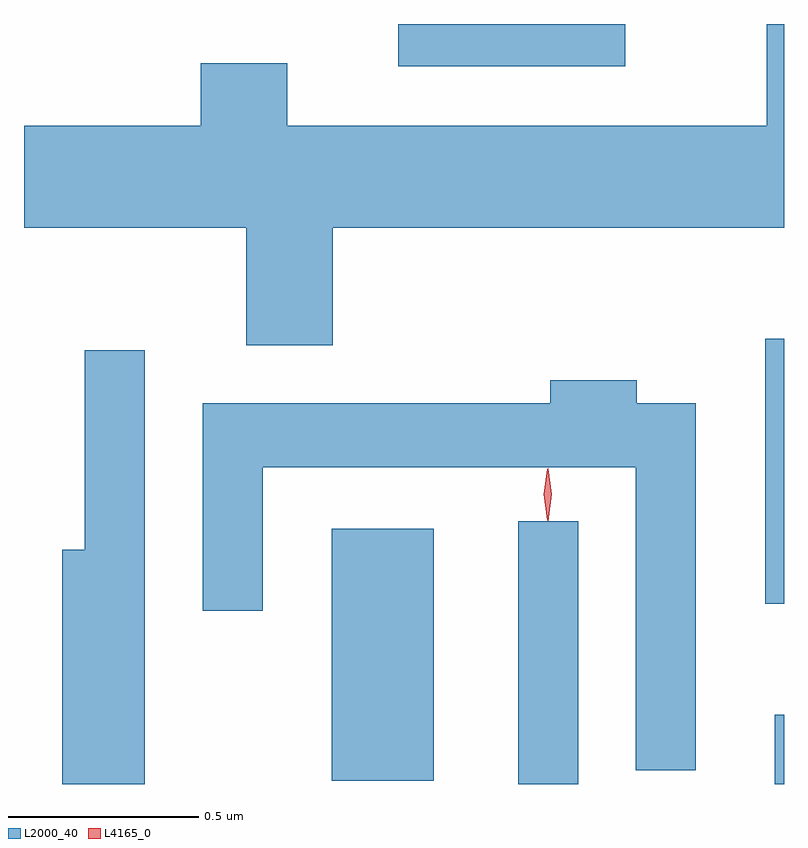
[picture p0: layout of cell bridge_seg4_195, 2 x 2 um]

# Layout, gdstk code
import gdstk
lib = gdstk.Library(unit=1e-6, precision=1e-09)
def R(c, l, rs):  # rectangles x0, y0, x1, y1
    for r in rs: c.add(gdstk.rectangle(r[:2], r[2:], *l))
def P(c, l, *ps):  # polygons
    for p in ps: c.add(gdstk.Polygon(p, *l))
L2000_40 = (2000, 40)
L4165_0 = (4165, 0)

bridge_seg4_195 = lib.new_cell('bridge_seg4_195')
R(bridge_seg4_195, L2000_40, [(969.816,1319.912,969.974,1320.603), (970.491,1319.912,970.516,1320.094), (969.326,1319.921,969.594,1320.584), (970.466,1320.386,970.516,1321.084), (969.501,1321.801,970.098,1321.912)])
P(bridge_seg4_195, L2000_40, [(969.329,1321.376),(970.516,1321.376),(970.516,1321.912),(970.471,1321.912),(970.471,1321.644),(969.209,1321.644),(969.209,1321.809),(968.981,1321.809),(968.981,1321.644),(968.516,1321.644),(968.516,1321.376),(969.101,1321.376),(969.101,1321.066),(969.329,1321.066)],
  [(968.834,1321.053),(968.676,1321.053),(968.676,1320.529),(968.616,1320.529),(968.616,1319.912),(968.834,1319.912)],
  [(970.284,1320.914),(970.129,1320.914),(970.129,1320.974),(969.901,1320.974),(969.901,1320.914),(968.986,1320.914),(968.986,1320.368),(969.144,1320.368),(969.144,1320.746),(970.126,1320.746),(970.126,1319.948),(970.284,1319.948)])
P(bridge_seg4_195, L4165_0, [(969.894,1320.604),(969.885,1320.674),(969.894,1320.742),(969.895,1320.743),(969.895,1320.742),(969.905,1320.674),(969.895,1320.604),(969.895,1320.604)],
  [(969.894,1320.607),(969.893,1320.608),(969.884,1320.674),(969.893,1320.74),(969.894,1320.74),(969.894,1320.74),(969.904,1320.674),(969.894,1320.608)])

lib.write_gds('bridge_seg4_195.gds')
